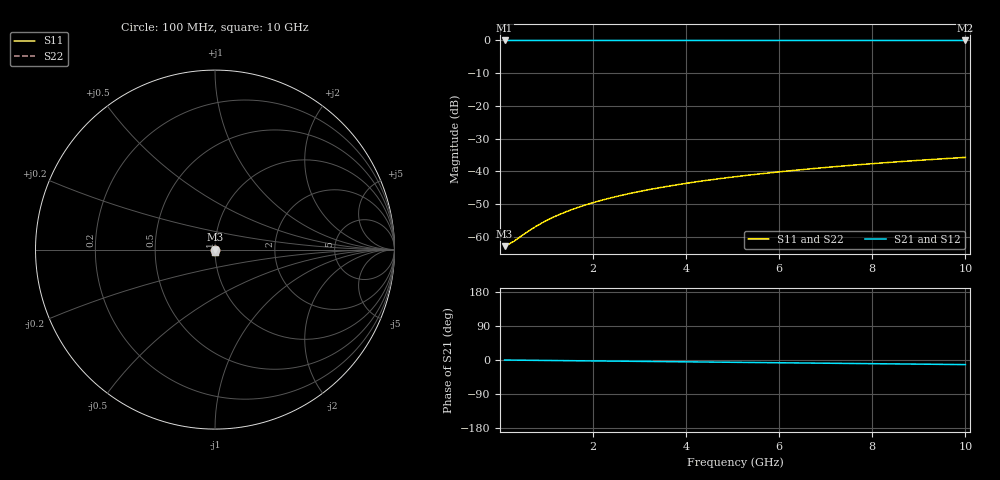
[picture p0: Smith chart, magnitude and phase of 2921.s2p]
# Hz S RI R 50.00
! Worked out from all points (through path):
!   100 points, 100 MHz to 10 GHz, reference 50 ohm
!   highest |S21| = -0.01 dB at 100 MHz (marker M1); lowest = 0.0 dB at 10 GHz (marker M2)
!   group delay of S21, straight-line fit = 3.37 ps
!   lowest |S11| = -62.9 dB at 100 MHz (marker M3), VSWR 1.00, Z = 50.1 - j0.0163 ohm
!   |S11| at or under -10 dB: start of sweep to end of sweep
!   |S22| runs from -62.9 to -35.8 dB; largest |S21 - S12| = 0
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1e8  0.000695 -0.000162  0.9993 -0.0021  0.9993 -0.0021  0.000695 -0.000162
2e8  0.000698 -0.000325  0.9993 -0.0042  0.9993 -0.0042  0.000698 -0.000325
3e8  0.000698 -0.000487  0.9993 -0.00631  0.9993 -0.00631  0.000698 -0.000487
7e8  0.00069 -0.00114  0.9992 -0.0147  0.9992 -0.0147  0.00069 -0.00114
8e8  0.000685 -0.0013  0.9991 -0.0168  0.9991 -0.0168  0.000685 -0.0013
1e9  0.000674 -0.00163  0.999 -0.021  0.999 -0.021  0.000674 -0.00163
1.2e9  0.00066 -0.00195  0.9989 -0.0252  0.9989 -0.0252  0.00066 -0.00195
1.4e9  0.000643 -0.00228  0.9988 -0.0294  0.9988 -0.0294  0.000643 -0.00228
1.6e9  0.000623 -0.0026  0.9987 -0.0336  0.9987 -0.0336  0.000623 -0.0026
1.8e9  0.000599 -0.00293  0.9985 -0.0378  0.9985 -0.0378  0.000599 -0.00293
2.1e9  0.00056 -0.00342  0.9983 -0.0442  0.9983 -0.0442  0.00056 -0.00342
2.5e9  0.000496 -0.00407  0.9978 -0.0526  0.9978 -0.0526  0.000496 -0.00407
2.9e9  0.000422 -0.00472  0.9974 -0.061  0.9974 -0.061  0.000422 -0.00472
3.4e9  0.000313 -0.00554  0.9966 -0.0715  0.9966 -0.0715  0.000313 -0.00554
3.8e9  0.000213 -0.00619  0.996 -0.0799  0.996 -0.0799  0.000213 -0.00619
4.2e9  0.000102 -0.00684  0.9953 -0.0883  0.9953 -0.0883  0.000102 -0.00684
5.1e9  -0.000189 -0.00831  0.9934 -0.1073  0.9934 -0.1073  -0.000189 -0.00831
5.9e9  -0.000495 -0.0096  0.9914 -0.1241  0.9914 -0.1241  -0.000495 -0.0096
6.7e9  -0.000845 -0.0109  0.9891 -0.1409  0.9891 -0.1409  -0.000845 -0.0109
7.5e9  -0.00124 -0.0122  0.9865 -0.1577  0.9865 -0.1577  -0.00124 -0.0122
8.4e9  -0.00173 -0.0136  0.9833 -0.1766  0.9833 -0.1766  -0.00173 -0.0136
1e10  -0.00274 -0.016  0.9766 -0.2101  0.9766 -0.2101  -0.00274 -0.016
